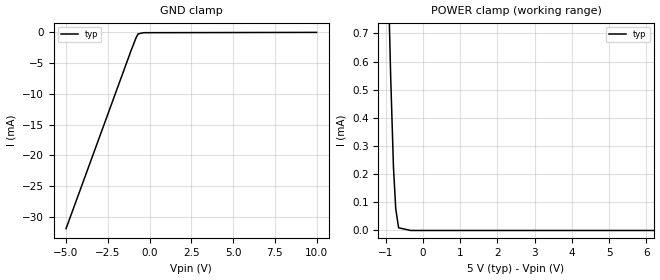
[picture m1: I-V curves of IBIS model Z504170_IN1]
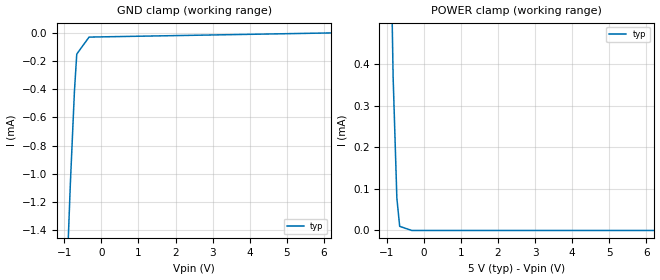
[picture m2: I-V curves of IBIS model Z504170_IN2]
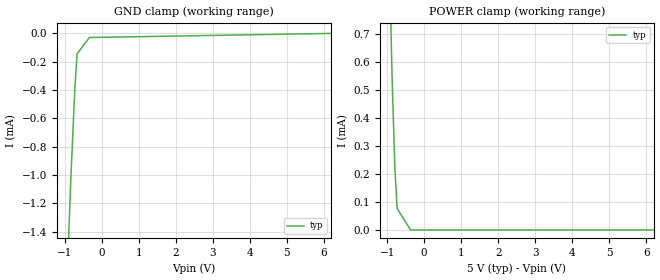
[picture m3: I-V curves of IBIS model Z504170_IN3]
| YOU ARE ONLY AUTHORIZED TO USE THIS SOFTWARE
| ACCORDING TO LICENSOR'S LICENSE RESTRICTIONS.
[IBIS Ver] 3.1
[File Name] mc74hc163ad.ibs
[File Rev] 2.0
[Source] Measured and created by ICX Technology
[Date] Friday 7/14/00 9:08:08 AM
[Copyright]
| (C) COPYRIGHT 1993-2000
| MENTOR GRAPHICS CORPORATION
| ICX STANDARD LIBRARY, ICX PROJECT MODELING,
| ICX CUSTOM MODELING, ICX VENDOR MODEL
| ALL RIGHTS RESERVED.
| THE FOLLOWING ARE TRADEMARKS OR SERVICE MARKS OF
| MENTOR GRAPHICS CORPORATION:ICX (R), ICX STANDARD
| LIBRARY(R), ICX PROJECT MODELING(R), ICX CUSTOM
| MODELING(R), qualityIBIS(TM), MODELVIEWER(TM),
| AND MODELEDITOR(TM)
| ALL COPIES OF SOFTWARE, INCLUDING BUT NOT LIMITED TO
| ANY MODIFICATIONS, ENHANCEMENTS OR DERIVATIVE WORKS,
| MUST CONTAIN ALL MENTOR GRAPHICS CORPORATION'S
| NOTICES AND LEGENDS, INCLUDING THOSE EMBEDDED IN
| SOFTWARE AND THOSE AFFIXED TO SOFTWARE MEDIUM
| AND CONTAINER, AS RECEIVED FROM MENTOR GRAPHICS
| CORPORATION.
|  ZAP Model Builder 2.7
[Component] MC74HC163AD
[Manufacturer] OnSemiconductor
[Package]
| variable   typ   min   max
R_pkg  .156ohms NA NA
L_pkg  3.148nH NA NA
C_pkg  .388pF NA NA
[Pin] signal_name  model_name  R_pin  L_pin C_pin
1 _S_R Z504170_IN1 .162 3.798n .418p
2 CP Z504170_IN2 .158 3.358n .398p
3 D0 Z504170_IN3 .154 2.928n .378p
4 D1 Z504170_IN3 .15 2.508n .358p
5 D2 Z504170_IN3 .15 2.508n .358p
6 D3 Z504170_IN3 .154 2.928n .378p
7 CEP Z504170_IN4 .158 3.358n .398p
8 GND GND .162 3.798n .418p
9 _P_E Z504170_IN5 .162 3.798n .418p
10 CET Z504170_IN6 .158 3.358n .398p
11 Q3 Z504170_OUT7 .154 2.928n .378p
12 Q2 Z504170_OUT7 .15 2.508n .358p
13 Q1 Z504170_OUT7 .15 2.508n .358p
14 Q0 Z504170_OUT7 .154 2.928n .378p
15 TC Z504170_OUT8 .158 3.358n .398p
16 Vcc POWER .162 3.798n .418p
| Models and submodels in the file (8): Z504170_IN1 (Input), Z504170_IN2 (Input), Z504170_IN3 (Input), Z504170_IN4 (Input), Z504170_IN5 (Input), Z504170_IN6 (Input), Z504170_OUT7 (Output), Z504170_OUT8 (Output)
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| (C) COPYRIGHT 1993-2000
| MENTOR GRAPHICS CORPORATION
| ICX STANDARD LIBRARY, ICX PROJECT MODELING,
| ICX CUSTOM MODELING, ICX VENDOR MODEL
| ALL RIGHTS RESERVED.
| THE FOLLOWING ARE TRADEMARKS OR SERVICE MARKS OF
| MENTOR GRAPHICS CORPORATION:ICX (R), ICX STANDARD
| LIBRARY(R), ICX PROJECT MODELING(R), ICX CUSTOM
| MODELING(R), qualityIBIS(TM), MODELVIEWER(TM),
| AND MODELEDITOR(TM)
| ALL COPIES OF SOFTWARE, INCLUDING BUT NOT LIMITED TO
| ANY MODIFICATIONS, ENHANCEMENTS OR DERIVATIVE WORKS,
| MUST CONTAIN ALL MENTOR GRAPHICS CORPORATION'S
| NOTICES AND LEGENDS, INCLUDING THOSE EMBEDDED IN
| SOFTWARE AND THOSE AFFIXED TO SOFTWARE MEDIUM
| AND CONTAINER, AS RECEIVED FROM MENTOR GRAPHICS
| CORPORATION.
| Model Application Version 1.89 2/18/99.
[Model] Z504170_IN1
Model_type Input
Vinl = 1.000V
Vinh = 3.500V
C_comp 4.000pF NA NA
| variable typ   min   max
[Voltage Range] 5.000V NA NA
[GND Clamp Reference] 0.000V NA NA
[POWER Clamp Reference] 5.000V NA NA
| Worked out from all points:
|   POWER clamp passes 1 mA (typ) near -0.95 V on its own axis
[GND Clamp]
-5V       -31.9mA    NA         NA
-1.119V   -3.04mA    NA         NA
-819.9mV  -947uA     NA         NA
-683.8mV  -222.5uA   NA         NA
-341.9mV  -33.06uA   NA         NA
10V       15.1uA     NA         NA
[POWER Clamp]
-5V       31.12mA    NA         NA
-1.392V   3.967mA    NA         NA
-1.093V   1.874mA    NA         NA
-1.001V   1.276mA    NA         NA
-866mV    546.3uA    NA         NA
-791mV    223.8uA    NA         NA
-730mV    76.8uA     NA         NA
-653mV    9.458uA    NA         NA
-326.5mV  0A         NA         NA
10V       0A         NA         NA
| (C) COPYRIGHT 1993-2000
| MENTOR GRAPHICS CORPORATION
| ICX STANDARD LIBRARY, ICX PROJECT MODELING,
| ICX CUSTOM MODELING, ICX VENDOR MODEL
| ALL RIGHTS RESERVED.
| THE FOLLOWING ARE TRADEMARKS OR SERVICE MARKS OF
| MENTOR GRAPHICS CORPORATION:ICX (R), ICX STANDARD
| LIBRARY(R), ICX PROJECT MODELING(R), ICX CUSTOM
| MODELING(R), qualityIBIS(TM), MODELVIEWER(TM),
| AND MODELEDITOR(TM)
| ALL COPIES OF SOFTWARE, INCLUDING BUT NOT LIMITED TO
| ANY MODIFICATIONS, ENHANCEMENTS OR DERIVATIVE WORKS,
| MUST CONTAIN ALL MENTOR GRAPHICS CORPORATION'S
| NOTICES AND LEGENDS, INCLUDING THOSE EMBEDDED IN
| SOFTWARE AND THOSE AFFIXED TO SOFTWARE MEDIUM
| AND CONTAINER, AS RECEIVED FROM MENTOR GRAPHICS
| CORPORATION.
| Model Application Version 1.89 2/18/99.
[Model] Z504170_IN2
Model_type Input
Vinl = 1.000V
Vinh = 3.500V
C_comp 4.000pF NA NA
| variable typ   min   max
[Voltage Range] 5.000V NA NA
[GND Clamp Reference] 0.000V NA NA
[POWER Clamp Reference] 5.000V NA NA
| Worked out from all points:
|   GND clamp passes 1 mA (typ) near -0.83 V on its own axis
|   POWER clamp passes 1 mA (typ) near -0.95 V on its own axis
[GND Clamp]
-5V       -32.25mA   NA         NA
-1.119V   -3.039mA   NA         NA
-838.4mV  -1.078mA   NA         NA
-727.5mV  -418.1uA   NA         NA
-664.3mV  -152.5uA   NA         NA
-332.2mV  -32.36uA   NA         NA
10V       14.18uA    NA         NA
[POWER Clamp]
-5V       31.12mA    NA         NA
-1.392V   3.96mA     NA         NA
-1.093V   1.873mA    NA         NA
-1.001V   1.275mA    NA         NA
-830mV    369.8uA    NA         NA
-729mV    77.46uA    NA         NA
-653mV    9.905uA    NA         NA
-326.5mV  0A         NA         NA
10V       0A         NA         NA
| (C) COPYRIGHT 1993-2000
| MENTOR GRAPHICS CORPORATION
| ICX STANDARD LIBRARY, ICX PROJECT MODELING,
| ICX CUSTOM MODELING, ICX VENDOR MODEL
| ALL RIGHTS RESERVED.
| THE FOLLOWING ARE TRADEMARKS OR SERVICE MARKS OF
| MENTOR GRAPHICS CORPORATION:ICX (R), ICX STANDARD
| LIBRARY(R), ICX PROJECT MODELING(R), ICX CUSTOM
| MODELING(R), qualityIBIS(TM), MODELVIEWER(TM),
| AND MODELEDITOR(TM)
| ALL COPIES OF SOFTWARE, INCLUDING BUT NOT LIMITED TO
| ANY MODIFICATIONS, ENHANCEMENTS OR DERIVATIVE WORKS,
| MUST CONTAIN ALL MENTOR GRAPHICS CORPORATION'S
| NOTICES AND LEGENDS, INCLUDING THOSE EMBEDDED IN
| SOFTWARE AND THOSE AFFIXED TO SOFTWARE MEDIUM
| AND CONTAINER, AS RECEIVED FROM MENTOR GRAPHICS
| CORPORATION.
| Model Application Version 1.89 2/18/99.
[Model] Z504170_IN3
Model_type Input
Vinl = 1.000V
Vinh = 3.500V
C_comp 4.000pF NA NA
| variable typ   min   max
[Voltage Range] 5.000V NA NA
[GND Clamp Reference] 0.000V NA NA
[POWER Clamp Reference] 5.000V NA NA
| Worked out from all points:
|   GND clamp passes 1 mA (typ) near -0.83 V on its own axis
|   POWER clamp passes 1 mA (typ) near -0.94 V on its own axis
[GND Clamp]
-5V       -32.59mA   NA         NA
-1.119V   -3.053mA   NA         NA
-838.7mV  -1.068mA   NA         NA
-727.5mV  -410.7uA   NA         NA
-664.5mV  -146.1uA   NA         NA
-332.2mV  -30.49uA   NA         NA
10V       15.4uA     NA         NA
[POWER Clamp]
-5V       31.09mA    NA         NA
-1.392V   3.972mA    NA         NA
-1.093V   1.876mA    NA         NA
-866mV    546.9uA    NA         NA
-791mV    224.4uA    NA         NA
-730mV    76.6uA     NA         NA
-365mV    0A         NA         NA
10V       0A         NA         NA
